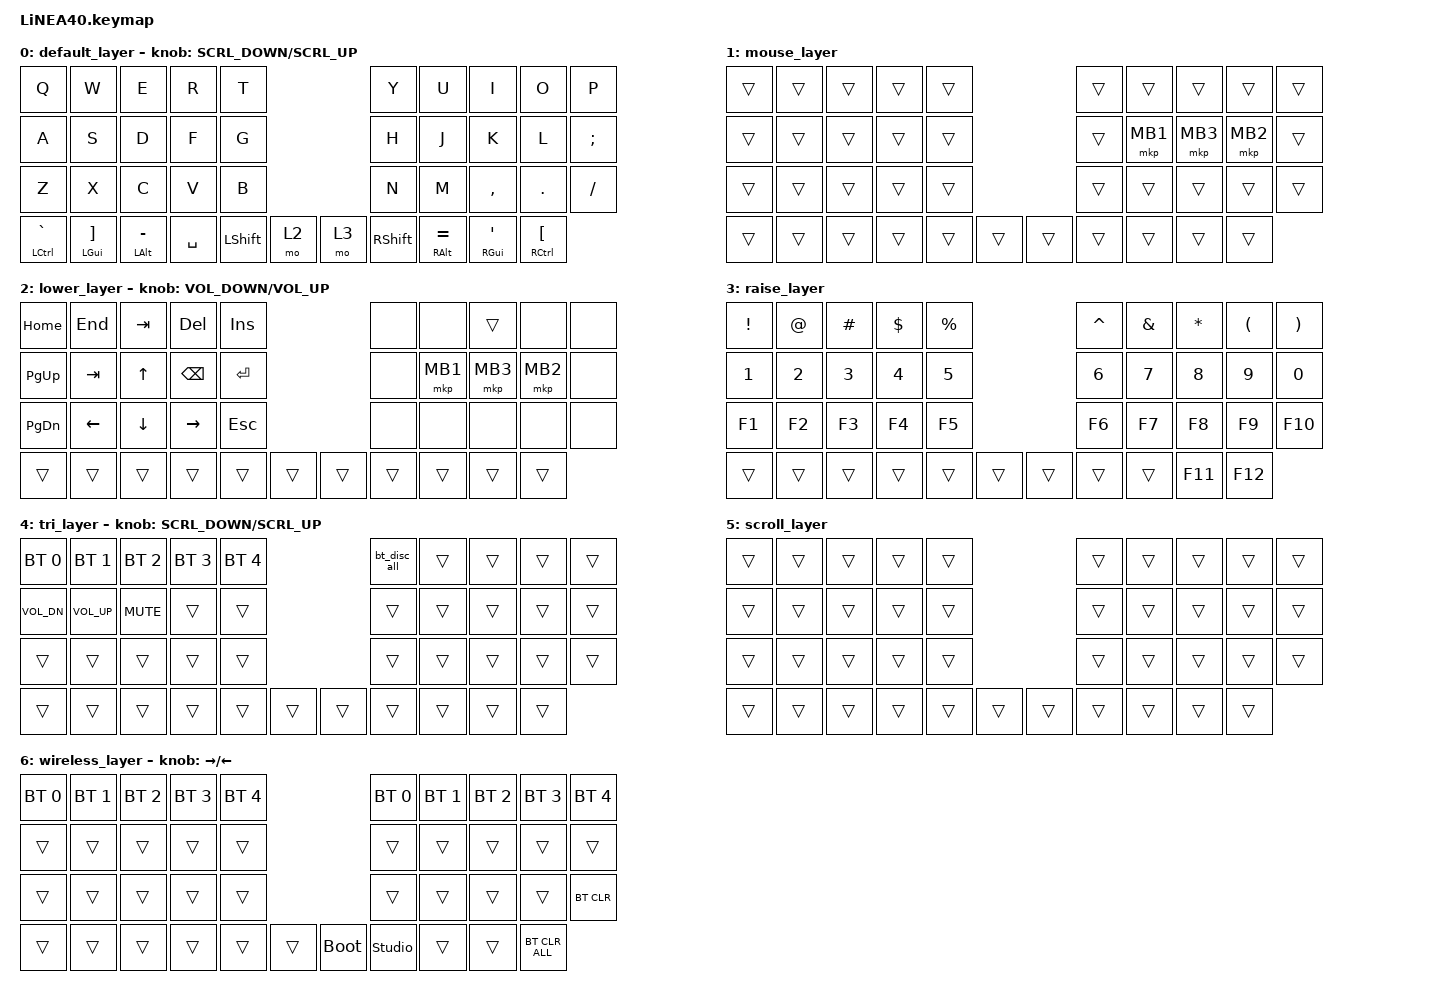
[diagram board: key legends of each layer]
#define ZMK_POINTING_DEFAULT_SCRL_VAL 150

#include <dt-bindings/zmk/input_transform.h>
#include <input/processors.dtsi>
#include <zephyr/dt-bindings/input/input-event-codes.h>
#include <behaviors.dtsi>
#include <dt-bindings/zmk/bt.h>
#include <dt-bindings/zmk/keys.h>
#include <dt-bindings/zmk/pointing.h>

#define DEFAULT  0
#define MOUSE    1
#define LOWER    2
#define RAISE    3
#define TRI      4
#define SCROLL   5
#define WIRELESS 6

/* Keep the established Planck mod-tap timing for non-home-row mod-taps. */

&mt { tapping-term-ms = <140>; };

&soft_off { hold-time-ms = <1000>; };

/* Mouse cursor */

&mmv {
    delay-ms = <20>;
    trigger-period-ms = <5>;
    time-to-max-speed-ms = <100>;
    acceleration-exponent = <2>;
};

/* Mouse scroll */

&msc {
    delay-ms = <3>;
    trigger-period-ms = <3>;
    time-to-max-speed-ms = <100>;
    acceleration-exponent = <0>;
};

/ {
    input_processors {
        zip_wheel_scaler: zip_wheel_scaler {
            compatible = "zmk,input-processor-scaler";
            #input-processor-cells = <2>;
            type = <INPUT_EV_REL>;
            codes = <INPUT_REL_WHEEL>;
            track-remainders;
        };
    };
};

&msc_input_listener {
    speed_up {
        layers = <TRI>;
        input-processors = <&zip_wheel_scaler 3 1>;
    };
};

&trackball_listener {
    input-processors = <&zip_xy_scaler 1 2>;

    scroller {
        layers = <LOWER RAISE>;
        input-processors =
            <&zip_xy_transform INPUT_TRANSFORM_Y_INVERT>,
            <&zip_xy_scaler 1 16>,
            <&zip_xy_to_scroll_mapper>;
    };
};

/ {
    combos { compatible = "zmk,combos"; };

    conditional_layers {
        compatible = "zmk,conditional-layers";

        lower_raise {
            if-layers = <LOWER RAISE>;
            then-layer = <TRI>;
        };
    };

    behaviors {
        /*
         * Latest Corne-ish Zen home-row-mod tuning:
         * - 200 ms balanced hold-tap
         * - opposite-hand interruptions only
         * - ignore rolls that start within 150 ms of the previous key
         */

        lh_mt: left_hand_mod_tap {
            compatible = "zmk,behavior-hold-tap";
            label = "LH_MT";
            #binding-cells = <2>;
            bindings = <&kp>, <&kp>;

            tapping-term-ms = <200>;
            flavor = "balanced";
            hold-trigger-key-positions = <5 6 7 8 9 15 16 17 18 19 25 26 27 28 29>;
            hold-trigger-on-release;
            require-prior-idle-ms = <150>;
        };

        rh_mt: right_hand_mod_tap {
            compatible = "zmk,behavior-hold-tap";
            label = "RH_MT";
            #binding-cells = <2>;
            bindings = <&kp>, <&kp>;

            tapping-term-ms = <200>;
            flavor = "balanced";
            hold-trigger-key-positions = <0 1 2 3 4 10 11 12 13 14 20 21 22 23 24>;
            hold-trigger-on-release;
            require-prior-idle-ms = <150>;
        };

        re_kp: sensor_rotate_kp {
            compatible = "zmk,behavior-sensor-rotate-var";
            #sensor-binding-cells = <2>;
            bindings = <&kp>, <&kp>;
        };

        bt_disc_all: bluetooth_disconnect_all {
            compatible = "zmk,behavior-macro";
            #binding-cells = <0>;

            wait-ms = <100>;
            tap-ms = <10>;
            bindings =
                <&bt BT_DISC 0>,
                <&bt BT_DISC 1>,
                <&bt BT_DISC 2>,
                <&bt BT_DISC 3>,
                <&bt BT_DISC 4>;
        };

        mouse_scrl: mouse_wheel_scrl {
            compatible = "zmk,behavior-sensor-rotate-var";
            #sensor-binding-cells = <2>;
            bindings = <&msc>, <&msc>;

            tap-ms = <20>;
        };
    };

    keymap {
        compatible = "zmk,keymap";

        /* Planck's two outside columns are omitted on LiNEA40. */

        default_layer {
            bindings = <
&kp Q            &kp W          &kp E           &kp R      &kp T                       &kp Y       &kp U  &kp I           &kp O         &kp P
&kp A            &kp S          &kp D           &kp F      &kp G                       &kp H       &kp J  &kp K           &kp L         &kp SEMI
&kp Z            &kp X          &kp C           &kp V      &kp B                       &kp N       &kp M  &kp COMMA       &kp PERIOD    &kp FSLH
&mt LCTRL GRAVE  &mt LGUI RBKT  &mt LALT MINUS  &kp SPACE  &kp LSHIFT  &mo 2    &mo 3  &kp RSHIFT         &mt RALT EQUAL  &mt RGUI SQT  &mt RCTRL LBKT
            >;

            sensor-bindings = <&mouse_scrl SCRL_DOWN SCRL_UP>;
        };

        /* Layer 1 is retained for PMW3610 automouse behavior. */

        mouse_layer {
            bindings = <
&trans  &trans  &trans  &trans  &trans                    &trans  &trans    &trans    &trans    &trans
&trans  &trans  &trans  &trans  &trans                    &trans  &mkp MB1  &mkp MB3  &mkp MB2  &trans
&trans  &trans  &trans  &trans  &trans                    &trans  &trans    &trans    &trans    &trans
&trans  &trans  &trans  &trans  &trans  &trans    &trans  &trans            &trans    &trans    &trans
            >;
        };

        lower_layer {
            bindings = <
&kp HOME   &kp END   &kp TAB   &kp DEL    &kp INS                      &none   &none     &trans    &none     &none
&kp PG_UP  &kp TAB   &kp UP    &kp BSPC   &kp ENTER                    &none   &mkp MB1  &mkp MB3  &mkp MB2  &none
&kp PG_DN  &kp LEFT  &kp DOWN  &kp RIGHT  &kp ESC                      &none   &none     &none     &none     &none
&trans     &trans    &trans    &trans     &trans     &trans    &trans  &trans            &trans    &trans    &trans
            >;

            sensor-bindings = <&re_kp C_VOLUME_DOWN C_VOLUME_UP>;
        };

        raise_layer {
            bindings = <
&kp EXCL  &kp AT  &kp HASH  &kp DLLR  &kp PRCNT                    &kp CARET  &kp AMPS  &kp STAR  &kp LPAR  &kp RPAR
&kp N1    &kp N2  &kp N3    &kp N4    &kp N5                       &kp N6     &kp N7    &kp N8    &kp N9    &kp N0
&kp F1    &kp F2  &kp F3    &kp F4    &kp F5                       &kp F6     &kp F7    &kp F8    &kp F9    &kp F10
&trans    &trans  &trans    &trans    &trans     &trans    &trans  &trans               &trans    &kp F11   &kp F12
            >;
        };

        tri_layer {
            bindings = <
&bt BT_SEL 0  &bt BT_SEL 1  &bt BT_SEL 2  &bt BT_SEL 3  &bt BT_SEL 4                    &bt_disc_all  &trans  &trans  &trans  &trans
&kp C_VOL_DN  &kp C_VOL_UP  &kp C_MUTE    &trans        &trans                          &trans      &trans  &trans  &trans  &trans
&trans        &trans        &trans        &trans        &trans                          &trans      &trans  &trans  &trans  &trans
&trans        &trans        &trans        &trans        &trans        &trans    &trans  &trans              &trans  &trans  &trans
            >;

            sensor-bindings = <&mouse_scrl SCRL_DOWN SCRL_UP>;
        };

        scroll_layer {
            bindings = <
&trans  &trans  &trans  &trans  &trans                    &trans  &trans  &trans  &trans  &trans
&trans  &trans  &trans  &trans  &trans                    &trans  &trans  &trans  &trans  &trans
&trans  &trans  &trans  &trans  &trans                    &trans  &trans  &trans  &trans  &trans
&trans  &trans  &trans  &trans  &trans  &trans    &trans  &trans          &trans  &trans  &trans
            >;
        };

        wireless_layer {
            bindings = <
&bt BT_SEL 0  &bt BT_SEL 1  &bt BT_SEL 2  &bt BT_SEL 3  &bt BT_SEL 4                         &bt BT_SEL 0    &bt BT_SEL 1  &bt BT_SEL 2  &bt BT_SEL 3  &bt BT_SEL 4
&trans        &trans        &trans        &trans        &trans                               &trans          &trans        &trans        &trans        &trans
&trans        &trans        &trans        &trans        &trans                               &trans          &trans        &trans        &trans        &bt BT_CLR
&trans        &trans        &trans        &trans        &trans        &trans    &bootloader  &studio_unlock                &trans        &trans        &bt BT_CLR_ALL
            >;

            sensor-bindings = <&inc_dec_kp RIGHT_ARROW LEFT_ARROW>;
        };
    };
};
